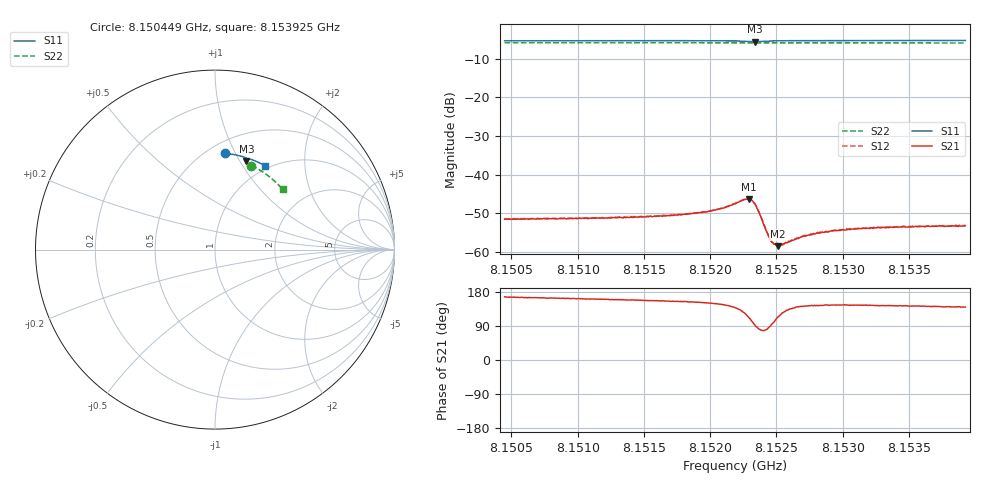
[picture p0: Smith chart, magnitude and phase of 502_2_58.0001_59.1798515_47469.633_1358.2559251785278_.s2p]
#  HZ  S  RI  R  50.00
! Rohde & Schwarz Vector Network Analyzer
! Rohde-Schwarz,ZNB20-2Port,1311601062101988,3.16
! Created: UTC 3/21/2024, 1:12:49 AM
! freq[Hz]  re:S11  im:S11  re:S21  im:S21  re:S12  im:S12  re:S22  im:S22
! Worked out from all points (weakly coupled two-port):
!   401 points, 8.150449 GHz to 8.153925 GHz, reference 50 ohm
!   highest |S21| = -46.33 dB at 8.152291 GHz (marker M1); lowest = -58.5 dB at 8.152509 GHz (marker M2)
!   lowest |S11| = -5.6 dB at 8.152335 GHz (marker M3), VSWR 3.20, Z = 39.2 + j53.4 ohm
!   |S11| at or under -10 dB: nowhere
!   |S22| runs from -5.9 to -5.9 dB; largest |S21 - S12| = 0.00012
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8.1504487e9  0.0539 0.536  -0.00257 0.000612  -0.00259 0.000689  0.2028 0.4677
8.1510311e9  0.0944 0.5313  -0.00259 0.000847  -0.00261 0.000908  0.2361 0.4506
8.1516134e9  0.1348 0.5233  -0.00266 0.00116  -0.00269 0.00122  0.2679 0.4315
8.151796e9  0.1476 0.52  -0.00275 0.00134  -0.00277 0.00135  0.2778 0.425
8.1519872e9  0.1616 0.5155  -0.0029 0.00166  -0.00293 0.00173  0.2878 0.4178
8.1521002e9  0.1704 0.5115  -0.00306 0.00209  -0.00307 0.00215  0.2935 0.4136
8.1521871e9  0.1773 0.5068  -0.00312 0.00278  -0.00313 0.00287  0.2979 0.4101
8.1522566e9  0.1806 0.4997  -0.00266 0.0039  -0.00267 0.00401  0.3013 0.4073
8.1522914e9  0.1796 0.4956  -0.00181 0.00447  -0.00178 0.00452  0.3028 0.4057
8.1523175e9  0.1768 0.494  -0.000893 0.00451  -0.00082 0.00453  0.3039 0.4049
8.1523348e9  0.1746 0.4944  -0.000231 0.00422  -0.000171 0.00424  0.3046 0.4042
8.1523696e9  0.1725 0.4977  0.000478 0.00318  0.000566 0.00319  0.3063 0.4031
8.1524218e9  0.1753 0.503  0.000336 0.00186  0.000381 0.00189  0.3089 0.4012
8.1524478e9  0.1779 0.5046  6.15e-05 0.00151  0.000117 0.00149  0.3102 0.4003
8.1524739e9  0.1806 0.5053  -0.00018 0.0013  -0.000172 0.00131  0.3118 0.3993
8.1525087e9  0.184 0.5055  -0.000464 0.00109  -0.000461 0.00115  0.3134 0.3979
8.1525434e9  0.1872 0.5054  -0.0007 0.00104  -0.000687 0.00101  0.3151 0.3966
8.1526912e9  0.1994 0.503  -0.00123 0.000985  -0.00122 0.000987  0.3225 0.3904
8.1527694e9  0.2052 0.501  -0.00135 0.000988  -0.00138 0.00101  0.326 0.3872
8.1529346e9  0.2167 0.4969  -0.00155 0.00108  -0.00155 0.00111  0.3341 0.3801
8.1533518e9  0.244 0.4851  -0.00167 0.00122  -0.00168 0.00125  0.3529 0.3616
8.1539254e9  0.2794 0.4668  -0.00166 0.0014  -0.00167 0.00145  0.377 0.3349
